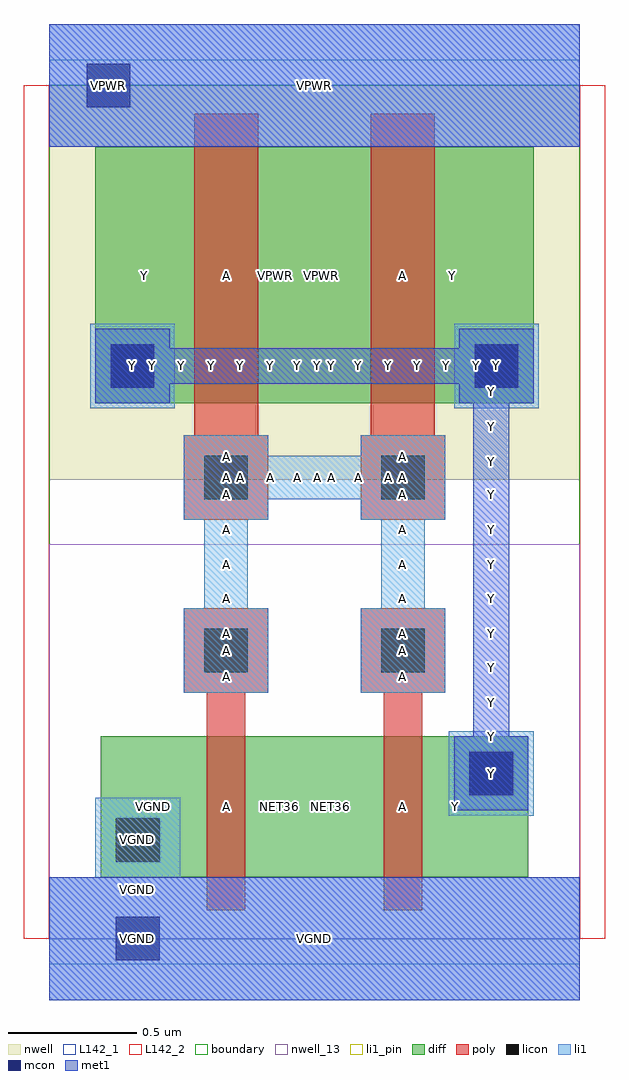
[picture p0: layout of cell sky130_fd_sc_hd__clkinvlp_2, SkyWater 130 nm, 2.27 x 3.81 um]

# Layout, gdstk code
import gdstk
lib = gdstk.Library(unit=1e-6, precision=1e-09)
def R(c, l, rs):  # rectangles x0, y0, x1, y1
    for r in rs: c.add(gdstk.rectangle(r[:2], r[2:], *l))
def P(c, l, *ps):  # polygons
    for p in ps: c.add(gdstk.Polygon(p, *l))
nwell_13 = (64, 13)
nwell = (64, 20)
diff = (65, 20)
poly = (66, 20)
licon = (66, 44)
li1_pin = (67, 16)
li1 = (67, 20)
mcon = (67, 44)
met1 = (68, 20)
L142_1 = (142, 1)
L142_2 = (142, 2)
boundary = (235, 4)

sky130_fd_sc_hd__clkinvl = lib.new_cell('sky130_fd_sc_hd__clkinvlp_2')
R(sky130_fd_sc_hd__clkinvl, nwell_13, [(0,0,2.07,1.54)])
R(sky130_fd_sc_hd__clkinvl, nwell, [(0,1.79,2.07,3.33)])
R(sky130_fd_sc_hd__clkinvl, diff, [(0.2,0.24,1.87,0.79), (0.2,0.24,0.615,0.79), (0.615,0.24,1.305,0.79), (1.305,0.24,1.87,0.79), (0.18,2.09,1.89,3.09), (0.18,2.09,0.565,3.09), (0.565,2.09,1.255,3.09), (1.255,2.09,1.89,3.09)])
P(sky130_fd_sc_hd__clkinvl, poly, [(0.615,0.11),(0.615,0.96),(0.525,0.96),(0.525,1.29),(0.855,1.29),(0.855,0.96),(0.765,0.96),(0.765,0.11)],
  [(1.305,0.11),(1.305,0.96),(1.215,0.96),(1.215,1.29),(1.545,1.29),(1.545,0.96),(1.455,0.96),(1.455,0.11)],
  [(0.525,1.635),(0.525,1.965),(0.565,1.965),(0.565,3.22),(0.815,3.22),(0.815,1.965),(0.855,1.965),(0.855,1.635)],
  [(1.215,1.635),(1.215,1.965),(1.255,1.965),(1.255,3.22),(1.505,3.22),(1.505,1.965),(1.545,1.965),(1.545,1.635)])
R(sky130_fd_sc_hd__clkinvl, licon, [(0.26,0.3,0.43,0.47), (1.64,0.56,1.81,0.73), (0.605,1.04,0.775,1.21), (1.295,1.04,1.465,1.21), (0.605,1.715,0.775,1.885), (1.295,1.715,1.465,1.885), (0.24,2.15,0.41,2.32), (1.66,2.15,1.83,2.32)])
R(sky130_fd_sc_hd__clkinvl, li1_pin, [(0,-0.24,2.07,0.24), (0.16,2.07,0.49,2.4), (0,3.09,2.07,3.57)])
P(sky130_fd_sc_hd__clkinvl, li1_pin, [(0.525,0.96),(0.525,1.29),(0.605,1.29),(0.605,1.635),(0.525,1.635),(0.525,1.965),(0.855,1.965),(0.855,1.885),(1.215,1.885),(1.215,1.965),(1.545,1.965),(1.545,1.635),(1.465,1.635),(1.465,1.29),(1.545,1.29),(1.545,0.96),(1.215,0.96),(1.215,1.29),(1.295,1.29),(1.295,1.635),(1.215,1.635),(1.215,1.715),(0.855,1.715),(0.855,1.635),(0.775,1.635),(0.775,1.29),(0.855,1.29),(0.855,0.96)])
R(sky130_fd_sc_hd__clkinvl, li1, [(1.56,0.48,1.89,0.81), (0.16,2.07,0.49,2.4), (1.58,2.07,1.91,2.4), (0,3.09,2.07,3.57)])
P(sky130_fd_sc_hd__clkinvl, li1, [(0,-0.24),(0,0.24),(0.18,0.24),(0.18,0.55),(0.51,0.55),(0.51,0.24),(2.07,0.24),(2.07,-0.24)],
  [(0.525,0.96),(0.525,1.29),(0.605,1.29),(0.605,1.635),(0.525,1.635),(0.525,1.965),(0.855,1.965),(0.855,1.885),(1.215,1.885),(1.215,1.965),(1.545,1.965),(1.545,1.635),(1.465,1.635),(1.465,1.29),(1.545,1.29),(1.545,0.96),(1.215,0.96),(1.215,1.29),(1.295,1.29),(1.295,1.635),(1.215,1.635),(1.215,1.715),(0.855,1.715),(0.855,1.635),(0.775,1.635),(0.775,1.29),(0.855,1.29),(0.855,0.96)])
R(sky130_fd_sc_hd__clkinvl, mcon, [(0.26,-0.085,0.43,0.085), (1.64,0.56,1.81,0.73), (0.24,2.15,0.41,2.32), (1.66,2.15,1.83,2.32), (0.145,3.245,0.315,3.415)])
R(sky130_fd_sc_hd__clkinvl, met1, [(0,-0.24,2.07,0.24), (0,3.09,2.07,3.57)])
P(sky130_fd_sc_hd__clkinvl, met1, [(1.58,0.5),(1.58,0.79),(1.655,0.79),(1.655,2.09),(1.6,2.09),(1.6,2.165),(0.47,2.165),(0.47,2.09),(0.18,2.09),(0.18,2.38),(0.47,2.38),(0.47,2.305),(1.6,2.305),(1.6,2.38),(1.89,2.38),(1.89,2.09),(1.795,2.09),(1.795,0.79),(1.87,0.79),(1.87,0.5)])
R(sky130_fd_sc_hd__clkinvl, L142_1, [(0,-0.1,2.07,0), (0,3.33,2.07,3.43)])
R(sky130_fd_sc_hd__clkinvl, L142_2, [(-0.1,0,0,3.33), (2.07,0,2.17,3.33)])
R(sky130_fd_sc_hd__clkinvl, boundary, [(0,0,2.07,3.33)])
sky130_fd_sc_hd__clkinvl.add(gdstk.Label('VGND', (0.407,0.515), layer=65, texttype=20))
sky130_fd_sc_hd__clkinvl.add(gdstk.Label('NET36', (0.897,0.515), layer=65, texttype=20))
sky130_fd_sc_hd__clkinvl.add(gdstk.Label('NET36', (1.097,0.515), layer=65, texttype=20))
sky130_fd_sc_hd__clkinvl.add(gdstk.Label('Y', (1.587,0.515), layer=65, texttype=20))
sky130_fd_sc_hd__clkinvl.add(gdstk.Label('VGND', (0.407,0.515), layer=65, texttype=20))
sky130_fd_sc_hd__clkinvl.add(gdstk.Label('NET36', (0.897,0.515), layer=65, texttype=20))
sky130_fd_sc_hd__clkinvl.add(gdstk.Label('NET36', (1.097,0.515), layer=65, texttype=20))
sky130_fd_sc_hd__clkinvl.add(gdstk.Label('Y', (1.587,0.515), layer=65, texttype=20))
sky130_fd_sc_hd__clkinvl.add(gdstk.Label('VGND', (0.345,0.385), layer=65, texttype=20))
sky130_fd_sc_hd__clkinvl.add(gdstk.Label('Y', (1.725,0.645), layer=65, texttype=20))
sky130_fd_sc_hd__clkinvl.add(gdstk.Label('VPWR', (1.062,2.59), layer=65, texttype=20))
sky130_fd_sc_hd__clkinvl.add(gdstk.Label('Y', (1.572,2.59), layer=65, texttype=20))
sky130_fd_sc_hd__clkinvl.add(gdstk.Label('Y', (0.372,2.59), layer=65, texttype=20))
sky130_fd_sc_hd__clkinvl.add(gdstk.Label('VPWR', (0.882,2.59), layer=65, texttype=20))
sky130_fd_sc_hd__clkinvl.add(gdstk.Label('VPWR', (1.062,2.59), layer=65, texttype=20))
sky130_fd_sc_hd__clkinvl.add(gdstk.Label('Y', (1.572,2.59), layer=65, texttype=20))
sky130_fd_sc_hd__clkinvl.add(gdstk.Label('Y', (0.372,2.59), layer=65, texttype=20))
sky130_fd_sc_hd__clkinvl.add(gdstk.Label('VPWR', (0.882,2.59), layer=65, texttype=20))
sky130_fd_sc_hd__clkinvl.add(gdstk.Label('Y', (1.745,2.235), layer=65, texttype=20))
sky130_fd_sc_hd__clkinvl.add(gdstk.Label('Y', (0.325,2.235), layer=65, texttype=20))
sky130_fd_sc_hd__clkinvl.add(gdstk.Label('A', (1.38,2.59), layer=66, texttype=20))
sky130_fd_sc_hd__clkinvl.add(gdstk.Label('A', (0.69,0.515), layer=66, texttype=20))
sky130_fd_sc_hd__clkinvl.add(gdstk.Label('A', (0.69,2.59), layer=66, texttype=20))
sky130_fd_sc_hd__clkinvl.add(gdstk.Label('A', (1.38,0.515), layer=66, texttype=20))
sky130_fd_sc_hd__clkinvl.add(gdstk.Label('A', (1.38,2.59), layer=66, texttype=20))
sky130_fd_sc_hd__clkinvl.add(gdstk.Label('A', (0.69,0.515), layer=66, texttype=20))
sky130_fd_sc_hd__clkinvl.add(gdstk.Label('A', (0.69,2.59), layer=66, texttype=20))
sky130_fd_sc_hd__clkinvl.add(gdstk.Label('A', (1.38,0.515), layer=66, texttype=20))
sky130_fd_sc_hd__clkinvl.add(gdstk.Label('A', (1.38,1.88), layer=66, texttype=20))
sky130_fd_sc_hd__clkinvl.add(gdstk.Label('A', (1.38,1.022), layer=66, texttype=20))
sky130_fd_sc_hd__clkinvl.add(gdstk.Label('A', (0.69,1.88), layer=66, texttype=20))
sky130_fd_sc_hd__clkinvl.add(gdstk.Label('A', (0.69,1.022), layer=66, texttype=20))
sky130_fd_sc_hd__clkinvl.add(gdstk.Label('A', (1.38,1.8), layer=66, texttype=20))
sky130_fd_sc_hd__clkinvl.add(gdstk.Label('A', (1.38,1.125), layer=66, texttype=20))
sky130_fd_sc_hd__clkinvl.add(gdstk.Label('A', (0.69,1.8), layer=66, texttype=20))
sky130_fd_sc_hd__clkinvl.add(gdstk.Label('A', (0.69,1.125), layer=66, texttype=20))
sky130_fd_sc_hd__clkinvl.add(gdstk.Label('Y', (1.745,2.235), layer=66, texttype=44))
sky130_fd_sc_hd__clkinvl.add(gdstk.Label('Y', (0.325,2.235), layer=66, texttype=44))
sky130_fd_sc_hd__clkinvl.add(gdstk.Label('VGND', (0.345,0.385), layer=66, texttype=44))
sky130_fd_sc_hd__clkinvl.add(gdstk.Label('Y', (1.725,0.645), layer=66, texttype=44))
sky130_fd_sc_hd__clkinvl.add(gdstk.Label('A', (1.38,1.8), layer=66, texttype=44))
sky130_fd_sc_hd__clkinvl.add(gdstk.Label('A', (1.38,1.125), layer=66, texttype=44))
sky130_fd_sc_hd__clkinvl.add(gdstk.Label('A', (0.69,1.8), layer=66, texttype=44))
sky130_fd_sc_hd__clkinvl.add(gdstk.Label('A', (0.69,1.125), layer=66, texttype=44))
sky130_fd_sc_hd__clkinvl.add(gdstk.Label('VPWR', (1.035,3.33), layer=67, texttype=20))
sky130_fd_sc_hd__clkinvl.add(gdstk.Label('VGND', (1.035,0), layer=67, texttype=20))
sky130_fd_sc_hd__clkinvl.add(gdstk.Label('VPWR', (1.035,3.33), layer=67, texttype=20))
sky130_fd_sc_hd__clkinvl.add(gdstk.Label('VGND', (1.035,0), layer=67, texttype=20))
sky130_fd_sc_hd__clkinvl.add(gdstk.Label('VGND', (0.345,0.192), layer=67, texttype=20))
sky130_fd_sc_hd__clkinvl.add(gdstk.Label('A', (1.38,1.732), layer=67, texttype=20))
sky130_fd_sc_hd__clkinvl.add(gdstk.Label('A', (1.322,1.8), layer=67, texttype=20))
sky130_fd_sc_hd__clkinvl.add(gdstk.Label('A', (1.38,1.597), layer=67, texttype=20))
sky130_fd_sc_hd__clkinvl.add(gdstk.Label('A', (1.38,1.462), layer=67, texttype=20))
sky130_fd_sc_hd__clkinvl.add(gdstk.Label('A', (1.38,1.327), layer=67, texttype=20))
sky130_fd_sc_hd__clkinvl.add(gdstk.Label('A', (1.38,1.192), layer=67, texttype=20))
sky130_fd_sc_hd__clkinvl.add(gdstk.Label('A', (1.207,1.8), layer=67, texttype=20))
sky130_fd_sc_hd__clkinvl.add(gdstk.Label('A', (1.102,1.8), layer=67, texttype=20))
sky130_fd_sc_hd__clkinvl.add(gdstk.Label('A', (1.045,1.8), layer=67, texttype=20))
sky130_fd_sc_hd__clkinvl.add(gdstk.Label('A', (1.025,1.8), layer=67, texttype=20))
sky130_fd_sc_hd__clkinvl.add(gdstk.Label('A', (0.967,1.8), layer=67, texttype=20))
sky130_fd_sc_hd__clkinvl.add(gdstk.Label('A', (0.862,1.8), layer=67, texttype=20))
sky130_fd_sc_hd__clkinvl.add(gdstk.Label('A', (0.747,1.8), layer=67, texttype=20))
sky130_fd_sc_hd__clkinvl.add(gdstk.Label('A', (0.69,1.732), layer=67, texttype=20))
sky130_fd_sc_hd__clkinvl.add(gdstk.Label('A', (0.69,1.597), layer=67, texttype=20))
sky130_fd_sc_hd__clkinvl.add(gdstk.Label('A', (0.69,1.462), layer=67, texttype=20))
sky130_fd_sc_hd__clkinvl.add(gdstk.Label('A', (0.69,1.327), layer=67, texttype=20))
sky130_fd_sc_hd__clkinvl.add(gdstk.Label('A', (0.69,1.192), layer=67, texttype=20))
sky130_fd_sc_hd__clkinvl.add(gdstk.Label('VGND', (0.345,0.385), layer=67, texttype=20))
sky130_fd_sc_hd__clkinvl.add(gdstk.Label('VGND', (0.345,0), layer=67, texttype=20))
sky130_fd_sc_hd__clkinvl.add(gdstk.Label('Y', (1.725,0.645), layer=67, texttype=20))
sky130_fd_sc_hd__clkinvl.add(gdstk.Label('Y', (1.725,0.645), layer=67, texttype=20))
sky130_fd_sc_hd__clkinvl.add(gdstk.Label('Y', (1.745,2.235), layer=67, texttype=20))
sky130_fd_sc_hd__clkinvl.add(gdstk.Label('Y', (1.745,2.235), layer=67, texttype=20))
sky130_fd_sc_hd__clkinvl.add(gdstk.Label('Y', (0.325,2.235), layer=67, texttype=20))
sky130_fd_sc_hd__clkinvl.add(gdstk.Label('Y', (0.325,2.235), layer=67, texttype=20))
sky130_fd_sc_hd__clkinvl.add(gdstk.Label('VPWR', (0.23,3.33), layer=67, texttype=20))
sky130_fd_sc_hd__clkinvl.add(gdstk.Label('A', (1.38,1.8), layer=67, texttype=20))
sky130_fd_sc_hd__clkinvl.add(gdstk.Label('A', (1.38,1.125), layer=67, texttype=20))
sky130_fd_sc_hd__clkinvl.add(gdstk.Label('A', (0.69,1.8), layer=67, texttype=20))
sky130_fd_sc_hd__clkinvl.add(gdstk.Label('A', (0.69,1.125), layer=67, texttype=20))
sky130_fd_sc_hd__clkinvl.add(gdstk.Label('Y', (0.325,2.235), layer=67, texttype=5))
sky130_fd_sc_hd__clkinvl.add(gdstk.Label('A', (0.69,1.125), layer=67, texttype=5))
sky130_fd_sc_hd__clkinvl.add(gdstk.Label('VGND', (1.035,0), layer=67, texttype=5))
sky130_fd_sc_hd__clkinvl.add(gdstk.Label('VPWR', (1.035,3.33), layer=67, texttype=5))
sky130_fd_sc_hd__clkinvl.add(gdstk.Label('VGND', (0.345,0), layer=67, texttype=44))
sky130_fd_sc_hd__clkinvl.add(gdstk.Label('Y', (1.725,0.645), layer=67, texttype=44))
sky130_fd_sc_hd__clkinvl.add(gdstk.Label('Y', (1.745,2.235), layer=67, texttype=44))
sky130_fd_sc_hd__clkinvl.add(gdstk.Label('Y', (0.325,2.235), layer=67, texttype=44))
sky130_fd_sc_hd__clkinvl.add(gdstk.Label('VPWR', (0.23,3.33), layer=67, texttype=44))
sky130_fd_sc_hd__clkinvl.add(gdstk.Label('VPWR', (1.035,3.33), layer=68, texttype=20))
sky130_fd_sc_hd__clkinvl.add(gdstk.Label('VGND', (1.035,0), layer=68, texttype=20))
sky130_fd_sc_hd__clkinvl.add(gdstk.Label('VPWR', (1.035,3.33), layer=68, texttype=20))
sky130_fd_sc_hd__clkinvl.add(gdstk.Label('VGND', (1.035,0), layer=68, texttype=20))
sky130_fd_sc_hd__clkinvl.add(gdstk.Label('Y', (1.725,0.682), layer=68, texttype=20))
sky130_fd_sc_hd__clkinvl.add(gdstk.Label('Y', (1.725,0.787), layer=68, texttype=20))
sky130_fd_sc_hd__clkinvl.add(gdstk.Label('Y', (1.725,0.922), layer=68, texttype=20))
sky130_fd_sc_hd__clkinvl.add(gdstk.Label('Y', (1.725,1.057), layer=68, texttype=20))
sky130_fd_sc_hd__clkinvl.add(gdstk.Label('Y', (1.725,1.192), layer=68, texttype=20))
sky130_fd_sc_hd__clkinvl.add(gdstk.Label('Y', (1.725,1.327), layer=68, texttype=20))
sky130_fd_sc_hd__clkinvl.add(gdstk.Label('Y', (1.725,1.462), layer=68, texttype=20))
sky130_fd_sc_hd__clkinvl.add(gdstk.Label('Y', (1.725,1.597), layer=68, texttype=20))
sky130_fd_sc_hd__clkinvl.add(gdstk.Label('Y', (1.725,1.732), layer=68, texttype=20))
sky130_fd_sc_hd__clkinvl.add(gdstk.Label('Y', (1.725,1.862), layer=68, texttype=20))
sky130_fd_sc_hd__clkinvl.add(gdstk.Label('Y', (1.725,1.997), layer=68, texttype=20))
sky130_fd_sc_hd__clkinvl.add(gdstk.Label('Y', (1.725,2.137), layer=68, texttype=20))
sky130_fd_sc_hd__clkinvl.add(gdstk.Label('Y', (1.725,2.22), layer=68, texttype=20))
sky130_fd_sc_hd__clkinvl.add(gdstk.Label('Y', (1.735,2.235), layer=68, texttype=20))
sky130_fd_sc_hd__clkinvl.add(gdstk.Label('Y', (1.667,2.235), layer=68, texttype=20))
sky130_fd_sc_hd__clkinvl.add(gdstk.Label('Y', (1.552,2.235), layer=68, texttype=20))
sky130_fd_sc_hd__clkinvl.add(gdstk.Label('Y', (1.437,2.235), layer=68, texttype=20))
sky130_fd_sc_hd__clkinvl.add(gdstk.Label('Y', (1.322,2.235), layer=68, texttype=20))
sky130_fd_sc_hd__clkinvl.add(gdstk.Label('Y', (1.207,2.235), layer=68, texttype=20))
sky130_fd_sc_hd__clkinvl.add(gdstk.Label('Y', (1.102,2.235), layer=68, texttype=20))
sky130_fd_sc_hd__clkinvl.add(gdstk.Label('Y', (1.045,2.235), layer=68, texttype=20))
sky130_fd_sc_hd__clkinvl.add(gdstk.Label('Y', (1.025,2.235), layer=68, texttype=20))
sky130_fd_sc_hd__clkinvl.add(gdstk.Label('Y', (0.967,2.235), layer=68, texttype=20))
sky130_fd_sc_hd__clkinvl.add(gdstk.Label('Y', (0.862,2.235), layer=68, texttype=20))
sky130_fd_sc_hd__clkinvl.add(gdstk.Label('Y', (0.747,2.235), layer=68, texttype=20))
sky130_fd_sc_hd__clkinvl.add(gdstk.Label('Y', (0.632,2.235), layer=68, texttype=20))
sky130_fd_sc_hd__clkinvl.add(gdstk.Label('Y', (0.517,2.235), layer=68, texttype=20))
sky130_fd_sc_hd__clkinvl.add(gdstk.Label('Y', (0.402,2.235), layer=68, texttype=20))
sky130_fd_sc_hd__clkinvl.add(gdstk.Label('Y', (0.335,2.235), layer=68, texttype=20))
sky130_fd_sc_hd__clkinvl.add(gdstk.Label('VGND', (0.345,0), layer=68, texttype=20))
sky130_fd_sc_hd__clkinvl.add(gdstk.Label('Y', (1.725,0.645), layer=68, texttype=20))
sky130_fd_sc_hd__clkinvl.add(gdstk.Label('Y', (1.745,2.235), layer=68, texttype=20))
sky130_fd_sc_hd__clkinvl.add(gdstk.Label('Y', (0.325,2.235), layer=68, texttype=20))
sky130_fd_sc_hd__clkinvl.add(gdstk.Label('VPWR', (0.23,3.33), layer=68, texttype=20))
sky130_fd_sc_hd__clkinvl.add(gdstk.Label('VGND', (1.035,0), layer=68, texttype=5))
sky130_fd_sc_hd__clkinvl.add(gdstk.Label('VPWR', (1.035,3.33), layer=68, texttype=5))

lib.write_gds('sky130_fd_sc_hd__clkinvlp_2.gds')
